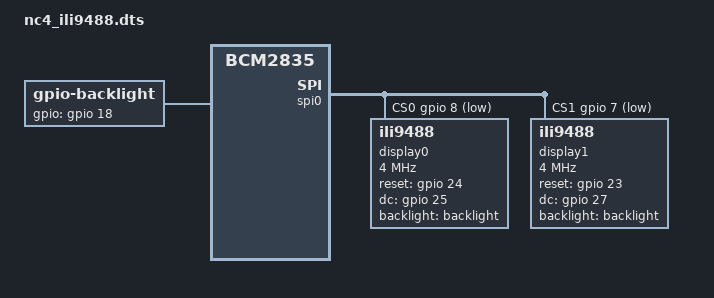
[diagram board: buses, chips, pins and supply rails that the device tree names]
/********************************************************************************
 * nc4_ili9488.dts (Revised for up to 3 ILI9488 panels on SPI0)
 *
 * - Disables (or supersedes) spidev0/spidev1 by overriding the SPI0 node
 * - Uses a single pin control fragment for SPI0 pins + chip selects
 * - Defines up to three ILI9488 child nodes: display0@0, display1@1, display2@2
 * - Each node can have its own reset-gpios, dc-gpios, and shares backlight
 *
 * Usage:
 *   dtoverlay=nc4_ili9488
 ********************************************************************************/
 /dts-v1/;
/plugin/;

/ {
	compatible = "brcm,bcm2835";

	/***********************************************************************
	 * fragment@0: Setup GPIO pin functions for SPI0 lines
	 *   This is optional if the default Pi firmware already sets them.
	 *   Adjust pin numbers and alt functions as needed for your Pi model.
	 ***********************************************************************/
	fragment@0 {
		target = <&gpio>;
		__overlay__ {
			/* Example alt function setup for SPI0 on GPIO9=MISO, GPIO10=MOSI, GPIO11=SCLK */
			spi0_pins: spi0_pins {
				brcm,pins = <9 10 11>;
				/* alt0 = 0, alt1 = 1, etc. The exact function value may differ on certain Pi models. */
				brcm,function = <0 0 0>; 
			};

			/* Chip Select lines: CE0 (GPIO8), CE1 (GPIO7), optional CE2 (GPIO6) */
			spi0_cs_pins: spi0_cs_pins {
				brcm,pins = <8 7 6>;
				brcm,function = <0 0 0>; /* alt0 or alt1 or output, depending on usage */
			};
		};
	};

	/***********************************************************************
	 * fragment@1: Configure &spi0
	 *   - Mark it as "okay"
	 *   - Reference our pinctrl
	 *   - Provide an array of cs-gpios for 2 or 3 chip selects
	 *   - Define up to three child nodes, each "compatible = ili9488"
	 ***********************************************************************/
	fragment@1 {
		target = <&spi0>;
		__overlay__ {
			#address-cells = <1>;
			#size-cells = <0>;

			pinctrl-names = "default";
			pinctrl-0 = <&spi0_pins &spi0_cs_pins>;
			/* Each entry in cs-gpios is <&gpio <pin> <flags>>, active-low typically uses flag=1 */
			cs-gpios = <&gpio 8 1>, <&gpio 7 1>, <&gpio 6 1>;
			status = "okay";

			/* ===============================
			 * First ILI9488 on CE0
			 * =============================== */
			display0: ili9488_0@0 {
				compatible = "ili9488";
				reg = <0>; /* CE0 */
				spi-max-frequency = <4000000>;
				rotation = <0>;

				/* If each display has unique DC/RESET lines, specify them here: */
				reset-gpios = <&gpio 24 0>;
				dc-gpios = <&gpio 25 0>;
				backlight = <&backlight>;
			};

			/* ===============================
			 * Second ILI9488 on CE1
			 * =============================== */
			display1: ili9488_1@1 {
				compatible = "ili9488";
				reg = <1>; /* CE1 */
				spi-max-frequency = <4000000>;
				rotation = <0>;

				reset-gpios = <&gpio 23 0>;
				dc-gpios = <&gpio 27 0>;
				backlight = <&backlight>;
			};

			/* ===============================
			 * Third ILI9488 on CE2 (optional)
			 * ===============================
			 * By default, "disabled". Enable it if your hardware is wired 
			 * to a third panel on GPIO6 (CE2), and you have assigned appropriate 
			 * reset/dc pins below.
			 */
			display2: ili9488_2@2 {
				compatible = "ili9488";
				reg = <2>; /* CE2 */
				spi-max-frequency = <4000000>;
				rotation = <0>;

				/* Example wiring for the third panel */
				reset-gpios = <&gpio 22 0>;
				dc-gpios = <&gpio 5 0>;
				backlight = <&backlight>;

				/* Mark as disabled by default; change to "okay" if you physically have a 3rd display */
				status = "disabled";
			};
		};
	};

	/***********************************************************************
	 * fragment@2: Shared backlight node
	 ***********************************************************************/
	fragment@2 {
		target-path = "/soc";
		__overlay__ {
			backlight: backlight {
				compatible = "gpio-backlight";
				gpios = <&gpio 18 0>;
				default-state = "on";
			};
		};
	};

	/***********************************************************************
	 * Overridable parameters for speed and rotation (and enabling the 3rd LCD)
	 ***********************************************************************/
	__overrides__ {
		speed =       <&display0>,"spi-max-frequency:0",
					  <&display1>,"spi-max-frequency:0",
					  <&display2>,"spi-max-frequency:0";

		rotation =    <&display0>,"rotation:0",
					  <&display1>,"rotation:0",
					  <&display2>,"rotation:0";

		enable3rd =   <&display2>,"status";
	};
};
